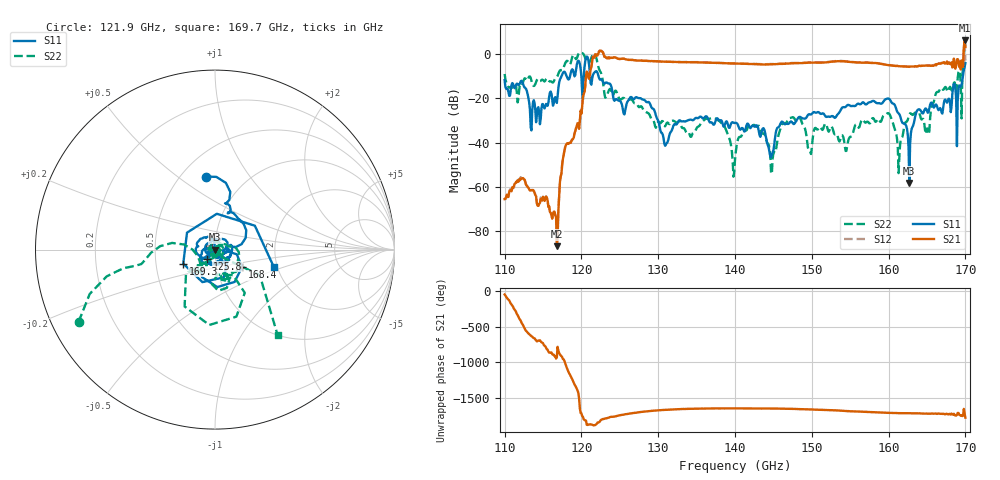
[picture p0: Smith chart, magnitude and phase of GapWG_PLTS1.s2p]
!Keysight Technologies PLTS 2023U1(64 bit), Build 20230630.1
!Deembedding/AFR applied
!FILE: C:\Users\jaha\OneDrive - Nokia\Project\Deacon_v3\Measure\250307 MPW12 GapWG\GapWG_Line1.s2p
!$DUT_CFG_DESC: Default 2-Port Configuration
!$NUMBER_PORTS: 2
!$DIFF_PORT_MAP: 1|1P|2|1P|
!$PORT_MAP: 1|1|<<<<<<|2|2|>>>>>>|
!Date: Thursday, March 20, 2025, 10:11:33
!S2P File: Measurements: S11,S21,S12,S22:
# MHz S  RI  R 50
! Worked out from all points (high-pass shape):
!   601 points, 110 GHz to 170 GHz, reference 50 ohm
!   highest |S21| = 6.10 dB at 169.9 GHz (marker M1); lowest = -86.6 dB at 116.8 GHz (marker M2)
!   |S21| within 3 dB of the highest: 169.8009 GHz to end of sweep
!   lowest |S11| = -58.2 dB at 162.7 GHz (marker M3), VSWR 1.00, Z = 49.9 - j0.107 ohm
!   |S11| at or under -10 dB: start of sweep to 117.4 GHz; 118.0774 GHz to 118.5186 GHz (441.1 MHz wide, 0.373 % of centre); 122.2 GHz to 169.7 GHz (47.44 GHz wide, 32.5 % of centre)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
!   |S22| runs from -55.3 to 4.3 dB; largest |S21 - S12| = 0.87
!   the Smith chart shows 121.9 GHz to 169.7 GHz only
!   S11 on the Smith chart (normalised r, x): 121.9 GHz: 0.66, +0.64; 125.8 GHz: 0.91, -0.09; 168.4 GHz: 1.32, -0.27; 169.3 GHz: 0.69, -0.11; 169.7 GHz: 1.91, -0.42
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110000  -0.043 0.2543  0.000347 -0.00041  0.000309 -0.000438  0.0332 -0.3528
116800  -0.0602 -0.051  -4.03e-05 2.33e-05  -5e-05 0.000119  0.2953 -0.0583
117800  -0.3959 -0.031  -0.000445 0.00667  6.07e-05 0.00671  0.5544 -0.1041
120000  0.00165 0.3123  0.00641 0.0447  0.00639 0.0451  0.2204 -1.046
121900  -0.0503 0.4071  0.2169 -0.8878  0.1022 -0.9045  -0.7604 -0.4036
122700  0.0822 0.2444  1.126 -0.0825  1.126 -0.1504  -0.3052 0.0193
125800  -0.0437 -0.0498  0.2805 0.7044  0.3157 0.6954  -0.0433 -0.0839
130000  -0.00374 0.0309  -0.3656 0.5734  -0.3506 0.5911  0.00242 -0.0298
137500  -0.0257 -0.0201  -0.544 0.322  -0.5911 0.2316  0.0147 -0.0314
140000  -0.0234 -0.0151  -0.5263 0.3068  -0.5571 0.2567  0.00416 6.81e-05
142200  -0.0164 -0.0172  -0.5102 0.3053  -0.568 0.1988  0.0157 -0.0173
144700  0.00285 0.00374  -0.498 0.3101  -0.5611 0.1912  -0.00085 -0.00188
147300  0.0148 -0.0263  -0.4962 0.3675  -0.5661 0.2675  0.0127 -0.0343
150000  0.0211 -0.0392  -0.4425 0.4613  -0.5951 0.2533  0.00234 -0.00712
160000  -0.0785 -0.0601  0.0443 0.5581  -0.1632 0.5409  0.0386 0.0254
161400  -0.0435 0.00556  0.066 0.5268  -0.1645 0.5108  -0.00112 0.00465
162700  -0.000613 -0.00107  0.0823 0.5072  -0.1619 0.492  0.039 0.0182
168400  0.1501 -0.0973  0.2473 0.4643  -0.0963 0.5723  0.0796 -0.1696
169300  -0.1768 -0.0779  0.3549 0.5478  0.1467 0.7738  -0.1692 -0.3172
169700  0.328 -0.0974  0.3436 0.3813  -0.1317 0.6023  0.3489 -0.4759
169900  -0.0948 -0.5149  0.5599 1.94  0.3671 1.637  -0.3688 -1.211
170000  -0.4901 -0.3805  1.35 0.4838  0.4857 0.5231  -1.135 -1.193
